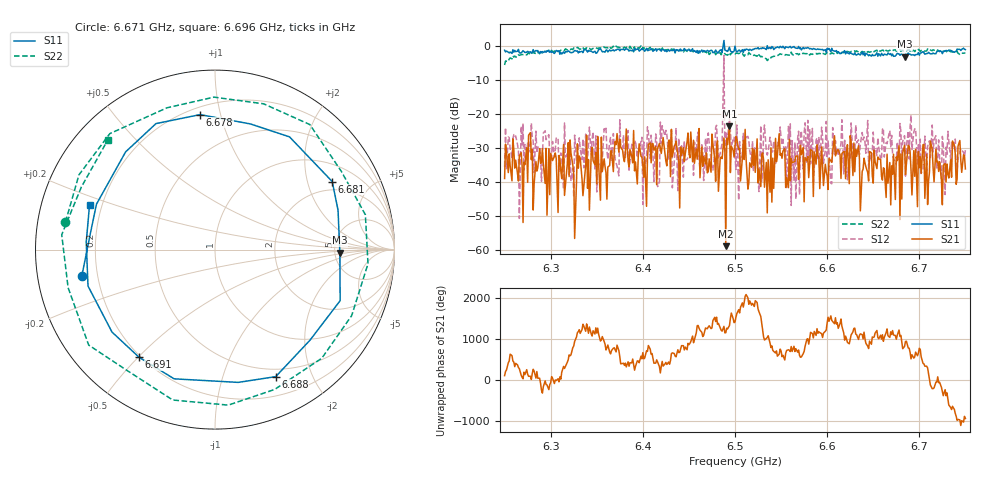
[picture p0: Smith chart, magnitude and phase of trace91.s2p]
# Hz S RI R 50
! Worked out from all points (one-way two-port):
!   401 points, 6.25 GHz to 6.75 GHz, reference 50 ohm
!   highest |S21| = -23.68 dB at 6.494 GHz (marker M1); lowest = -58.9 dB at 6.49 GHz (marker M2)
!   lowest |S11| = -3.1 dB at 6.684 GHz (marker M3), VSWR 5.58, Z = 278 - j18.2 ohm
!   |S11| at or under -10 dB: nowhere
!   |S22| runs from -5.6 to 0.0 dB; largest |S21 - S12| = 0.72
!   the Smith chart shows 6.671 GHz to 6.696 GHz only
!   S11 on the Smith chart (normalised r, x): 6.671 GHz: 0.14, -0.10; 6.678 GHz: 0.25, +0.86; 6.681 GHz: 1.63, +2.87; 6.688 GHz: 0.41, -1.51; 6.691 GHz: 0.19, -0.50; 6.696 GHz: 0.15, +0.17
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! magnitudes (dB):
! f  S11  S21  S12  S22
! 6.25 GHz  -1.3  -39.0  -35.6  -5.6
! 6.334 GHz  -1.6  -39.1  -33.5  -1.0
! 6.418 GHz  -1.1  -28.7  -40.1  -0.9
! 6.424 GHz  -1.6  -31.7  -26.5  -1.2
! 6.435 GHz  -2.1  -29.1  -30.6  -1.7
! 6.475 GHz  -1.4  -25.9  -36.2  -2.1
! 6.49 GHz  -1.4  -58.9  -25.2  -2.6
! 6.494 GHz  -0.4  -23.7  -21.4  -2.0
! 6.5 GHz  -0.1  -29.6  -32.2  -2.4
! 6.528 GHz  -0.7  -41.4  -23.4  -3.2
! 6.535 GHz  0.0  -49.1  -32.1  -4.3
! 6.546 GHz  -0.3  -32.2  -29.0  -2.9
! 6.584 GHz  -1.0  -31.0  -24.3  -2.5
! 6.668 GHz  -2.6  -34.3  -24.9  -1.3
! 6.671 GHz  -2.4  -37.8  -32.0  -1.4
! 6.678 GHz  -2.4  -29.3  -33.6  -1.3
! 6.681 GHz  -2.4  -45.0  -34.8  -1.3
! 6.684 GHz  -3.1  -29.3  -26.4  -1.5
! 6.688 GHz  -2.1  -29.2  -25.0  -1.2
! 6.691 GHz  -2.7  -36.6  -20.3  -1.1
! 6.696 GHz  -2.6  -30.4  -24.3  -1.4
! 6.75 GHz  -1.1  -36.2  -30.6  -2.1
